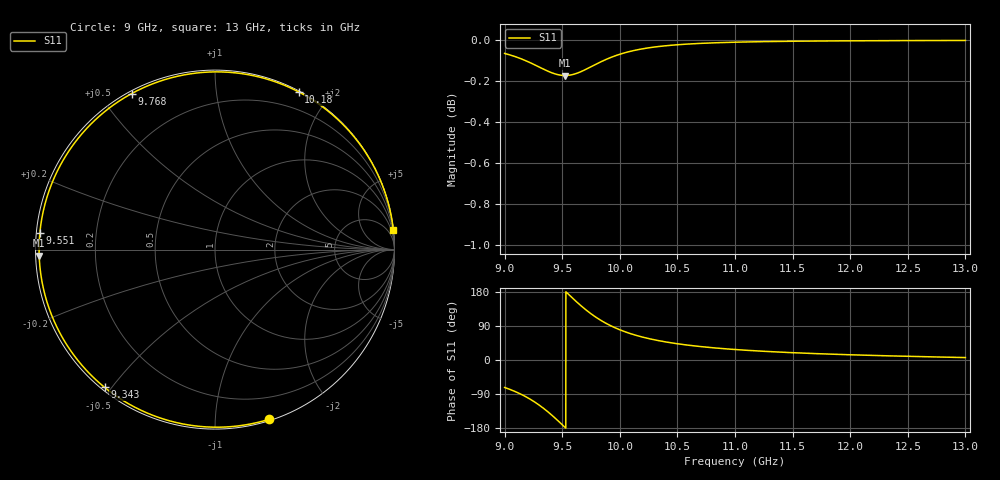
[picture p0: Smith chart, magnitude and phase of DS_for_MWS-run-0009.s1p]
! TOUCHSTONE file generated by CST DESIGN STUDIO
! Date and time: Tue Feb  4 15:48:36 2025
! Project name: C:\Work\MatlabApps\UnitCellOptimizationMatlab\CST\unitcell.cst
! Tree item: Tasks\Sweep1\SPara1\S-Parameters
! Header version: 2024
! Port assignment regex: !\s*Touchstone port\s*([0-9]+)\s*=\s*(CST MWS port|CST DES external port|CST DES block port)\s*(.+)\s* \(\"(.*)\"\)(\s*mode\s*([0-9]+))?.*
! Touchstone port assignment:
! Touchstone port 1 = CST DES external port 1 ("")
# GHz S MA R 50
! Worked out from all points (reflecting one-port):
!   4001 points, 9 GHz to 13 GHz, reference 50 ohm
!   lowest |S11| = -0.2 dB at 9.525 GHz (marker M1), VSWR 99.98, Z = 0.5 - j0.877 ohm
!   phase of S11 starts at -72 deg and turns -281 deg over the sweep
!   S11 on the Smith chart (normalised r, x): 9 GHz: 0.01, -1.36; 9.343 GHz: 0.01, -0.48; 9.551 GHz: 0.01, +0.05; 9.768 GHz: 0.01, +0.60; 10.18 GHz: 0.01, +1.66; 13 GHz: 0, +18
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9  0.9924 -72.5
9.095  0.9905 -83.7
9.201  0.9879 -99.7
9.275  0.9856 -113.7
9.343  0.9835 -128.7
9.386  0.9823 -139.4
9.43  0.9812 -151.0
9.5  0.9803 -170.7
9.525  0.9802 -178.0
9.551  0.9803 174.5
9.605  0.981 159.0
9.666  0.9824 142.4
9.717  0.9839 129.7
9.768  0.9856 118.1
9.817  0.9872 108.1
9.87  0.9888 98.5
9.93  0.9904 89.1
10  0.9919 79.7
10.085  0.9935 70.3
10.177  0.9947 62.1
10.324  0.9961 51.8
10.5  0.9972 42.9
10.722  0.998 34.8
11  0.9986 27.7
11.5  0.9992 19.3
12  0.9994 13.8
12.5  0.9995 9.7
13  0.9996 6.4
